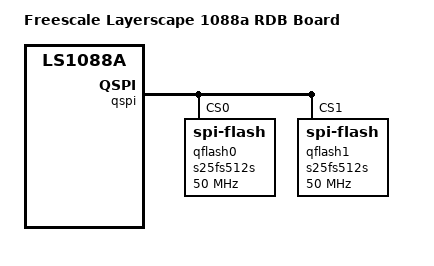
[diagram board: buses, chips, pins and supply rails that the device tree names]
/*
 * Freescale ls1088a QDS board device tree source
 *
 * Copyright 2016 Freescale Semiconductor, Inc.
 *
 * SPDX-License-Identifier:	GPL-2.0+
 */

/dts-v1/;

#include "fsl-ls1088a.dtsi"

/ {
	model = "Freescale Layerscape 1088a RDB Board";
	compatible = "fsl,ls1088a-rdb", "fsl,ls1088a";
	aliases {
		spi0 = &qspi;
	};
};

&qspi {
	bus-num = <0>;
	status = "okay";

	qflash0: s25fs512s@0 {
		#address-cells = <1>;
		#size-cells = <1>;
		compatible = "spi-flash";
		spi-max-frequency = <50000000>;
		reg = <0>;
	};

	qflash1: s25fs512s@1 {
		#address-cells = <1>;
		#size-cells = <1>;
		compatible = "spi-flash";
		spi-max-frequency = <50000000>;
		reg = <1>;
	 };
};
